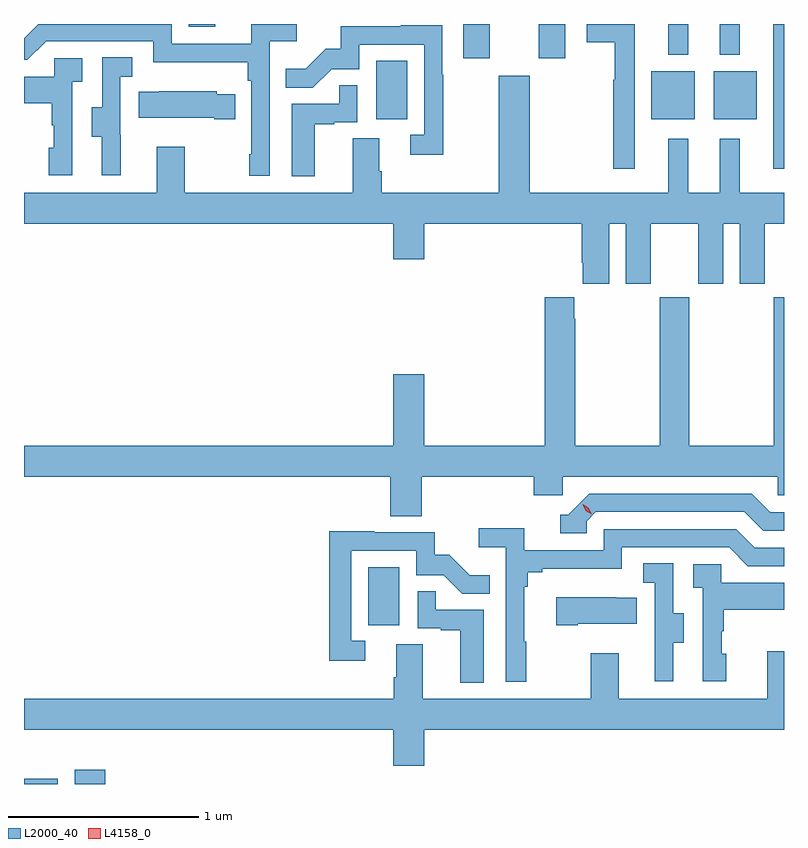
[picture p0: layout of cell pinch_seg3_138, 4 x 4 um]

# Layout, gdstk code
import gdstk
lib = gdstk.Library(unit=1e-6, precision=1e-09)
def R(c, l, rs):  # rectangles x0, y0, x1, y1
    for r in rs: c.add(gdstk.rectangle(r[:2], r[2:], *l))
def P(c, l, *ps):  # polygons
    for p in ps: c.add(gdstk.Polygon(p, *l))
L2000_40 = (2000, 40)
L4158_0 = (4158, 0)

pinch_seg3_138 = lib.new_cell('pinch_seg3_138')
R(pinch_seg3_138, L2000_40, [(1140.087,725.939,1140.264,725.966), (1140.353,725.939,1140.514,726.013), (1141.898,726.774,1142.062,727.081), (1144.031,729.177,1144.087,729.939), (1143.389,729.437,1143.616,729.691), (1143.716,729.437,1143.943,729.691), (1141.94,729.438,1142.104,729.745), (1142.399,729.759,1142.539,729.939), (1142.795,729.759,1142.935,729.939), (1143.479,729.776,1143.583,729.939), (1143.749,729.776,1143.853,729.939), (1140.954,729.924,1141.093,729.939)])
P(pinch_seg3_138, L2000_40, [(1141.38,729.848),(1141.522,729.848),(1141.522,729.939),(1141.283,729.939),(1141.283,729.834),(1140.864,729.834),(1140.864,729.939),(1140.161,729.939),(1140.087,729.865),(1140.087,729.75),(1140.105,729.75),(1140.204,729.849),(1140.768,729.849),(1140.768,729.737),(1141.264,729.737),(1141.264,729.641),(1141.284,729.641),(1141.284,729.253),(1141.272,729.253),(1141.272,729.141),(1141.38,729.141)],
  [(1143.301,729.939),(1143.05,729.939),(1143.05,729.842),(1143.195,729.842),(1143.195,729.646),(1143.187,729.646),(1143.187,729.177),(1143.301,729.177)],
  [(1142.294,729.671),(1142.289,729.671),(1142.289,729.932),(1142.071,729.932),(1142.071,729.927),(1141.753,729.927),(1141.753,729.81),(1141.676,729.81),(1141.569,729.703),(1141.465,729.703),(1141.465,729.604),(1141.608,729.604),(1141.706,729.702),(1141.851,729.702),(1141.851,729.831),(1142.193,729.831),(1142.193,729.357),(1142.121,729.357),(1142.121,729.252),(1142.294,729.252)],
  [(1140.596,729.357),(1140.594,729.357),(1140.594,729.661),(1140.658,729.661),(1140.658,729.764),(1140.498,729.764),(1140.498,729.501),(1140.443,729.501),(1140.443,729.346),(1140.497,729.346),(1140.497,729.144),(1140.596,729.144)],
  [(1140.342,729.635),(1140.394,729.635),(1140.394,729.759),(1140.246,729.759),(1140.246,729.661),(1140.087,729.661),(1140.087,729.521),(1140.234,729.521),(1140.234,729.407),(1140.244,729.407),(1140.244,729.288),(1140.218,729.288),(1140.218,729.144),(1140.342,729.144)],
  [(1143.166,728.888),(1143.254,728.888),(1143.254,728.571),(1143.385,728.571),(1143.385,728.888),(1143.635,728.888),(1143.635,728.571),(1143.766,728.571),(1143.766,728.888),(1143.854,728.888),(1143.854,728.571),(1143.985,728.571),(1143.985,728.888),(1144.087,728.888),(1144.087,729.052),(1143.853,729.052),(1143.853,729.334),(1143.749,729.334),(1143.749,729.052),(1143.583,729.052),(1143.583,729.334),(1143.479,729.334),(1143.479,729.052),(1142.749,729.052),(1142.749,729.667),(1142.585,729.667),(1142.585,729.052),(1141.97,729.052),(1141.97,729.164),(1141.957,729.164),(1141.957,729.338),(1141.817,729.338),(1141.817,729.052),(1140.933,729.052),(1140.933,729.292),(1140.785,729.292),(1140.785,729.052),(1140.087,729.052),(1140.087,728.888),(1142.03,728.888),(1142.03,728.7),(1142.194,728.7),(1142.194,728.888),(1143.023,728.888),(1143.023,728.683),(1143.029,728.683),(1143.029,728.571),(1143.166,728.571)],
  [(1141.618,729.411),(1141.721,729.411),(1141.721,729.423),(1141.842,729.423),(1141.842,729.617),(1141.747,729.617),(1141.747,729.519),(1141.496,729.519),(1141.496,729.137),(1141.618,729.137)],
  [(1141.199,729.568),(1141.101,729.568),(1141.101,729.586),(1140.799,729.586),(1140.799,729.583),(1140.691,729.583),(1140.691,729.446),(1141.088,729.446),(1141.088,729.439),(1141.199,729.439)],
  [(1142.18,727.556),(1142.771,727.556),(1142.771,727.458),(1142.922,727.458),(1142.922,727.556),(1144.053,727.556),(1144.053,727.458),(1144.087,727.458),(1144.087,728.5),(1144.033,728.5),(1144.033,727.72),(1143.588,727.72),(1143.588,728.5),(1143.433,728.5),(1143.433,727.72),(1142.988,727.72),(1142.988,728.387),(1142.983,728.387),(1142.983,728.5),(1142.828,728.5),(1142.828,727.72),(1142.194,727.72),(1142.194,728.095),(1142.03,728.095),(1142.03,727.72),(1140.087,727.72),(1140.087,727.556),(1142.015,727.556),(1142.015,727.348),(1142.18,727.348)],
  [(1143.048,727.323),(1143.096,727.371),(1143.879,727.371),(1143.978,727.272),(1144.087,727.272),(1144.087,727.368),(1144.015,727.368),(1143.916,727.467),(1143.063,727.467),(1142.952,727.356),(1142.909,727.356),(1142.909,727.26),(1143.048,727.26)],
  [(1142.731,726.689),(1142.719,726.689),(1142.719,726.977),(1142.738,726.977),(1142.738,727.054),(1142.815,727.054),(1142.815,727.073),(1143.234,727.073),(1143.234,727.185),(1143.798,727.185),(1143.897,727.086),(1144.087,727.086),(1144.087,727.182),(1143.934,727.182),(1143.835,727.281),(1143.138,727.281),(1143.138,727.17),(1142.72,727.17),(1142.72,727.286),(1142.481,727.286),(1142.481,727.184),(1142.622,727.184),(1142.622,726.477),(1142.731,726.477)],
  [(1141.882,726.693),(1141.809,726.693),(1141.809,727.167),(1142.151,727.167),(1142.151,727.038),(1142.296,727.038),(1142.394,726.94),(1142.537,726.94),(1142.537,727.039),(1142.433,727.039),(1142.326,727.146),(1142.25,727.146),(1142.25,727.263),(1141.931,727.263),(1141.931,727.268),(1141.693,727.268),(1141.693,726.588),(1141.882,726.588)],
  [(1143.505,726.682),(1143.559,726.682),(1143.559,726.837),(1143.504,726.837),(1143.504,727.1),(1143.345,727.1),(1143.345,726.997),(1143.408,726.997),(1143.408,726.693),(1143.407,726.693),(1143.407,726.48),(1143.505,726.48)],
  [(1143.784,726.624),(1143.759,726.624),(1143.759,726.743),(1143.769,726.743),(1143.769,726.857),(1144.087,726.857),(1144.087,726.997),(1143.756,726.997),(1143.756,727.095),(1143.609,727.095),(1143.609,726.971),(1143.66,726.971),(1143.66,726.48),(1143.784,726.48)],
  [(1142.506,726.855),(1142.255,726.855),(1142.255,726.953),(1142.16,726.953),(1142.16,726.759),(1142.281,726.759),(1142.281,726.747),(1142.384,726.747),(1142.384,726.473),(1142.506,726.473)],
  [(1143.001,726.782),(1143.311,726.782),(1143.311,726.919),(1143.203,726.919),(1143.203,726.922),(1142.889,726.922),(1142.889,726.775),(1143.001,726.775)],
  [(1142.194,726.224),(1144.087,726.224),(1144.087,726.637),(1143.998,726.637),(1143.998,726.388),(1143.217,726.388),(1143.217,726.628),(1143.07,726.628),(1143.07,726.388),(1142.185,726.388),(1142.185,726.674),(1142.045,726.674),(1142.045,726.5),(1142.033,726.5),(1142.033,726.388),(1140.087,726.388),(1140.087,726.224),(1142.03,726.224),(1142.03,726.036),(1142.194,726.036)])
P(pinch_seg3_138, L4158_0, [(1143.074,727.359),(1143.043,727.378),(1143.027,727.411),(1143.027,727.411),(1143.028,727.411),(1143.058,727.392),(1143.074,727.359),(1143.074,727.359)])

lib.write_gds('pinch_seg3_138.gds')
